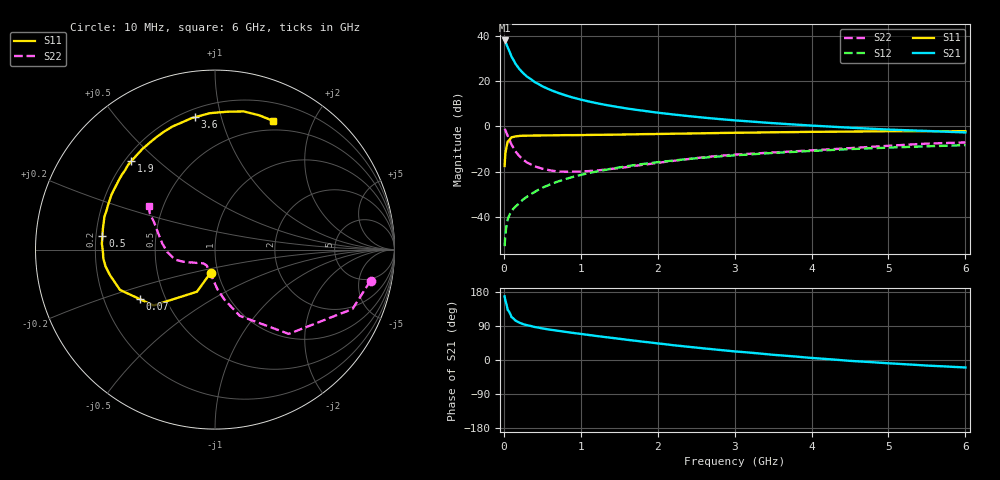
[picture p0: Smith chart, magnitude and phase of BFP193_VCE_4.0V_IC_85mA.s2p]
! Infineon Technologies  Discrete & RF Semiconductors
! BFP193
! VCE =  4.0 V,  IC =  85 mA
! Common Emitter S-Parameters:  Jan 2017
# GHz  S  MA  R  50
!  f  S11  S21  S12  S22
! GHz  MAG  ANG  MAG  ANG  MAG  ANG  MAG  ANG
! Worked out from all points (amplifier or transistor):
!   77 points, 10 MHz to 6 GHz, reference 50 ohm
!   highest |S21| = 38.2 dB at 10 MHz (marker M1)
!   |S21| within 3 dB of that: start of sweep to 49.04 MHz
!   unconditionally stable (mu >= 1): 348.4 MHz to 2.465 GHz
!   at 130 MHz: K = 0.75, MSG = 32.8 dB, |S12| = -36.3 dB
!   at 2.2 GHz: K = 1.01, MAG = 9.6 dB, |S12| = -15.1 dB
!   at 6 GHz: K = 0.93, MSG = 2.8 dB, |S12| = -8.3 dB
!   S11 on the Smith chart (normalised r, x): 10 MHz: 0.92, -0.24; 70 MHz: 0.36, -0.27; 500 MHz: 0.23, +0.06; 1.9 GHz: 0.23, +0.41; 3.6 GHz: 0.25, +0.83; 6 GHz: 0.39, +1.48
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0.01  0.1325 -100.9  81.31 167.9  0.0022 81.3  0.8836 -11.3
0.02  0.2551 -113.2  77.78 156.8  0.004 80.4  0.8344 -23.4
0.05  0.4626 -137.7  57.05 132.4  0.0087 61.0  0.6241 -48.8
0.07  0.5004 -146.4  47.86 126.8  0.0105 61.3  0.5249 -54.9
0.1  0.5749 -157.0  35.5 113.1  0.0133 61.5  0.394 -69.5
0.15  0.6022 -166.3  24.87 104.2  0.0166 63.1  0.2816 -79.5
0.2  0.6172 -171.4  19.02 98.7  0.0197 66.3  0.222 -86.4
0.25  0.6242 -175.5  15.36 94.7  0.0239 67.7  0.1849 -90.8
0.3  0.6244 -178.5  12.85 91.9  0.0275 69.6  0.1589 -95.2
0.4  0.6312 176.9  9.746 87.1  0.0352 71.3  0.1305 -101.9
0.5  0.632 173.0  7.811 83.4  0.0435 71.7  0.1154 -107.8
0.7  0.638 166.5  5.614 77.3  0.0597 71.9  0.1001 -117.4
0.9  0.6423 160.4  4.374 71.5  0.0761 70.0  0.0997 -124.9
1.1  0.6483 154.8  3.606 66.2  0.092 68.3  0.1023 -130.9
1.5  0.6612 144.0  2.67 56.0  0.1232 63.5  0.1194 -142.5
1.9  0.6787 133.5  2.134 46.3  0.1537 58.4  0.1475 -151.0
2.1  0.6857 128.3  1.937 41.6  0.168 55.6  0.1641 -154.7
3.1  0.7277 107.3  1.33 21.1  0.234 42.6  0.2423 -170.6
3.6  0.746 98.5  1.156 12.2  0.2635 36.7  0.2705 -179.0
4.1  0.7618 90.7  1.025 4.0  0.2919 30.5  0.3015 171.4
5.1  0.7857 77.0  0.841 -9.8  0.3441 18.7  0.381 154.7
6  0.7868 65.7  0.737 -19.8  0.385 8.5  0.4426 146.5
